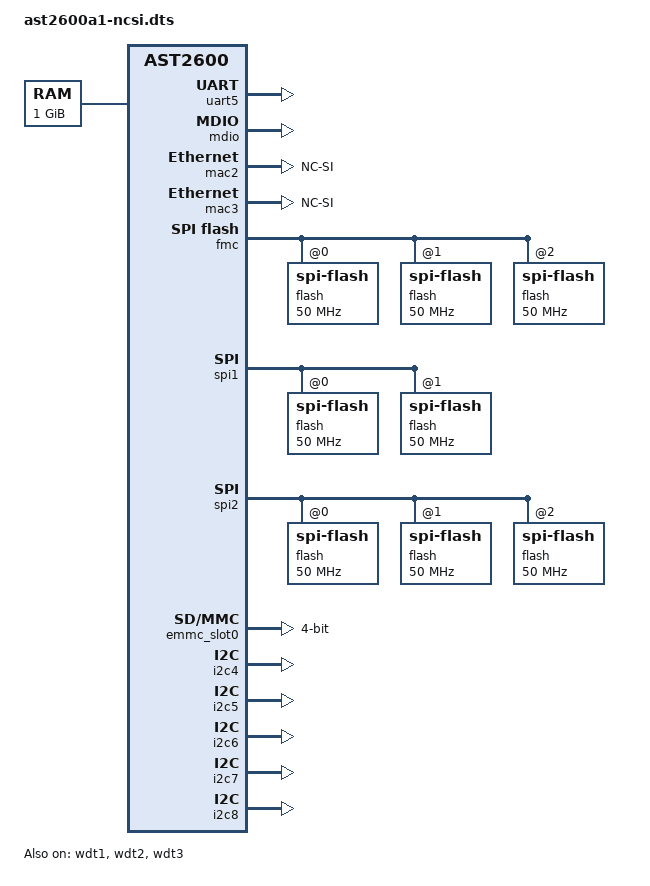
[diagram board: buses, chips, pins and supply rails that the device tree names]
/dts-v1/;

#include "ast2600-u-boot.dtsi"

/ {
	memory {
		device_type = "memory";
		reg = <0x80000000 0x40000000>;
	};

	chosen {
		stdout-path = &uart5;
	};

	aliases {
		spi0 = &fmc;
		spi1 = &spi1;
		spi2 = &spi2;
#if 0		
		ethernet0 = &mac0;
		ethernet1 = &mac1;
#endif		
		ethernet2 = &mac2;
		ethernet3 = &mac3;
	};

	cpus {
		cpu@0 {
			clock-frequency = <800000000>;
		};
		cpu@1 {
			clock-frequency = <800000000>;
		};
	};
};

&uart5 {
	u-boot,dm-pre-reloc;
	status = "okay";
};

&sdrammc {
	clock-frequency = <400000000>;
};

&wdt1 {
	u-boot,dm-pre-reloc;
	status = "okay";
};

&wdt2 {
	u-boot,dm-pre-reloc;
	status = "okay";
};

&wdt3 {
	u-boot,dm-pre-reloc;
	status = "okay";
};

&mdio {
	status = "okay";
};

#if 0
&mac0 {
	status = "okay";
	phy-mode = "rgmii";

	pinctrl-names = "default";
	pinctrl-0 = <&pinctrl_mac1link_default &pinctrl_mdio1_default>;
};

&mac1 {
	status = "okay";

	phy-mode = "rgmii";
	pinctrl-names = "default";
	pinctrl-0 = <&pinctrl_mac2link_default &pinctrl_mdio2_default>;
};
#endif

&mac2 {
	status = "okay";

	phy-mode = "NC-SI";
	use-ncsi;
	pinctrl-names = "default";
	pinctrl-0 = <&pinctrl_rmii3_default>;
};

&mac3 {
	status = "okay";

	phy-mode = "NC-SI";
	use-ncsi;
	pinctrl-names = "default";
	pinctrl-0 = <&pinctrl_rmii4_default>;
};

&fmc {
	status = "okay";
#if 0
	pinctrl-names = "default";
	pinctrl-0 = <&pinctrl_fmcquad_default>;
#endif
	flash@0 {
		compatible = "spi-flash", "sst,w25q256";
		status = "okay";
		spi-max-frequency = <50000000>;
		spi-tx-bus-width = <2>;
		spi-rx-bus-width = <2>;
	};

	flash@1 {
		compatible = "spi-flash", "sst,w25q256";
		status = "okay";
		spi-max-frequency = <50000000>;
		spi-tx-bus-width = <2>;
		spi-rx-bus-width = <2>;
    };

	flash@2 {
        compatible = "spi-flash", "sst,w25q256";
        status = "okay";
        spi-max-frequency = <50000000>;
        spi-tx-bus-width = <2>;
        spi-rx-bus-width = <2>;
	};
};

&spi1 {
	status = "okay";

	pinctrl-names = "default";
	pinctrl-0 = <&pinctrl_spi1_default &pinctrl_spi1abr_default
			&pinctrl_spi1cs1_default &pinctrl_spi1wp_default
			&pinctrl_spi1wp_default>;

	flash@0 {
		compatible = "spi-flash", "sst,w25q256";
		status = "okay";
		spi-max-frequency = <50000000>;
		spi-tx-bus-width = <2>;
		spi-rx-bus-width = <2>;
	};

	flash@1 {
		compatible = "spi-flash", "sst,w25q256";
		status = "okay";
		spi-max-frequency = <50000000>;
		spi-tx-bus-width = <2>;
		spi-rx-bus-width = <2>;
	};
};

&spi2 {
	status = "okay";

	pinctrl-names = "default";
	pinctrl-0 = <&pinctrl_spi2_default &pinctrl_spi2cs1_default
			&pinctrl_spi2cs2_default &pinctrl_spi2quad_default>;

	flash@0 {
		compatible = "spi-flash", "sst,w25q256";
		status = "okay";
		spi-max-frequency = <50000000>;
		spi-tx-bus-width = <2>;
		spi-rx-bus-width = <2>;
	};

	flash@1 {
		compatible = "spi-flash", "sst,w25q256";
		status = "okay";
		spi-max-frequency = <50000000>;
		spi-tx-bus-width = <2>;
		spi-rx-bus-width = <2>;
	};

	flash@2 {
		compatible = "spi-flash", "sst,w25q256";
		status = "okay";
		spi-max-frequency = <50000000>;
		spi-tx-bus-width = <2>;
		spi-rx-bus-width = <2>;
	};
};

&emmc_slot0 {
	status = "okay";
	bus-width = <4>;
	pinctrl-names = "default";
	pinctrl-0 = <&pinctrl_emmc_default>;
};

#if 0
&sdhci_slot0 {
	status = "okay";
	bus-width = <4>;
	pwr-gpios = <&gpio0 ASPEED_GPIO(V, 0) GPIO_ACTIVE_HIGH>;
	pwr-sw-gpios = <&gpio0 ASPEED_GPIO(V, 1) GPIO_ACTIVE_HIGH>;
	pinctrl-names = "default";
	pinctrl-0 = <&pinctrl_sd1_default>;
};

&sdhci_slot1 {
	status = "okay";
	bus-width = <4>;
	pwr-gpios = <&gpio0 ASPEED_GPIO(V, 2) GPIO_ACTIVE_HIGH>;
	pwr-sw-gpios = <&gpio0 ASPEED_GPIO(V, 3) GPIO_ACTIVE_HIGH>;
	pinctrl-names = "default";
	pinctrl-0 = <&pinctrl_sd2_default>;
};
#endif

&i2c4 {
	status = "okay";

	pinctrl-names = "default";
	pinctrl-0 = <&pinctrl_i2c5_default>;
};

&i2c5 {
	status = "okay";

	pinctrl-names = "default";
	pinctrl-0 = <&pinctrl_i2c6_default>;
};

&i2c6 {
	status = "okay";

	pinctrl-names = "default";
	pinctrl-0 = <&pinctrl_i2c7_default>;
};

&i2c7 {
	status = "okay";

	pinctrl-names = "default";
	pinctrl-0 = <&pinctrl_i2c8_default>;
};

&i2c8 {
	status = "okay";

	pinctrl-names = "default";
	pinctrl-0 = <&pinctrl_i2c9_default>;
};

#if 0
&pcie_bridge1 {
	status = "okay";
};

&h2x {
	status = "okay";
};
#endif
